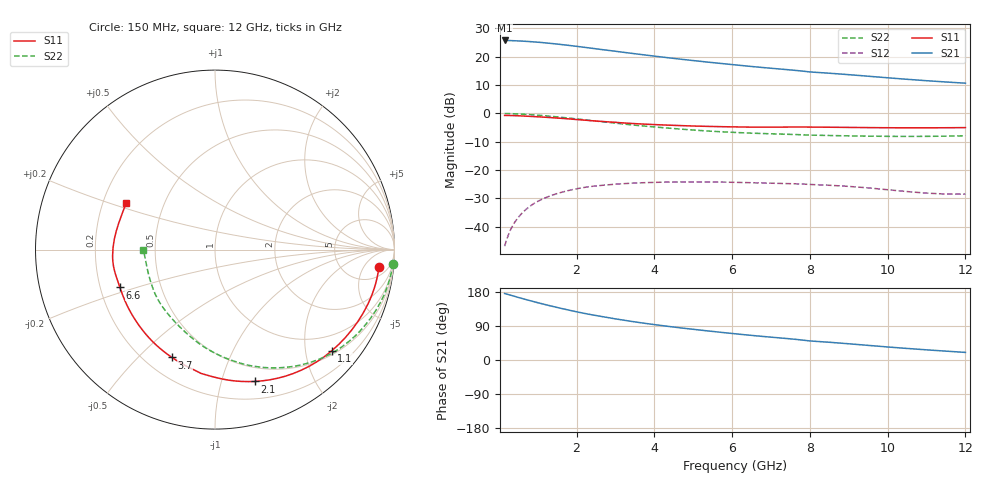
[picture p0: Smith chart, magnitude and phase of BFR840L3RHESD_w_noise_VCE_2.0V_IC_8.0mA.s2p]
! Infineon Technologies  Discrete & RF Semiconductors
! BFR840L3RHESD
! VCE =  2.0 V,  IC =  8.0 mA
! Common Emitter S-Parameters:  Jun 2012
# GHz  S  MA  R  50
!  f  S11  S21  S12  S22
! GHz  MAG  ANG  MAG  ANG  MAG  ANG  MAG  ANG
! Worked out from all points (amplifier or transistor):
!   91 points, 150 MHz to 12 GHz, reference 50 ohm
!   highest |S21| = 25.7 dB at 150 MHz (marker M1)
!   |S21| within 3 dB of that: start of sweep to 2.527 GHz
!   unconditionally stable (mu >= 1): 8.707 GHz to end of sweep
!   at 1.3 GHz: K = 0.12, MSG = 27.0 dB, |S12| = -29.3 dB
!   at 4.3 GHz: K = 0.36, MSG = 22.0 dB, |S12| = -24.3 dB
!   at 12 GHz: K = 2.22, MAG = 13.4 dB, |S12| = -28.5 dB
!   lowest NFmin = 0.61 dB at 450 MHz
!   S11 on the Smith chart (normalised r, x): 150 MHz: 9, -11; 1.1 GHz: 0.59, -2.56; 2.1 GHz: 0.36, -1.29; 3.7 GHz: 0.31, -0.63; 6.6 GHz: 0.28, -0.18; 12 GHz: 0.30, +0.23
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0.15  0.9183 -6.0  19.38 175.4  0.0045 81.6  0.9926 -4.5
0.35  0.9129 -13.8  19.22 169.7  0.0101 78.9  0.9851 -10.7
0.6  0.8981 -23.2  18.87 162.3  0.0173 71.9  0.9664 -18.0
0.8  0.8838 -30.4  18.5 156.7  0.0228 67.7  0.9477 -23.7
1.1  0.8606 -41.0  17.82 148.7  0.0301 62.5  0.9157 -32.0
1.4  0.8352 -51.2  17.02 141.1  0.0363 57.2  0.8792 -39.8
1.6  0.8166 -57.7  16.45 136.3  0.04 53.5  0.8525 -44.7
1.9  0.7873 -67.1  15.56 129.4  0.045 47.9  0.8106 -51.8
2.1  0.7678 -73.1  14.97 125.1  0.0478 44.5  0.7826 -56.3
2.2  0.7583 -75.9  14.67 123.1  0.0491 43.0  0.7689 -58.4
2.6  0.7231 -86.5  13.52 115.6  0.053 37.9  0.7172 -66.5
3  0.694 -96.5  12.51 108.5  0.0561 32.9  0.672 -73.7
3.4  0.6638 -105.5  11.52 102.1  0.0582 28.7  0.6271 -80.9
3.7  0.6469 -111.8  10.86 97.6  0.0594 26.0  0.5992 -85.9
4.2  0.6247 -121.5  9.875 90.8  0.0607 21.9  0.5594 -93.5
5  0.5973 -135.5  8.557 81.0  0.0614 16.0  0.507 -105.0
6.1  0.5754 -151.8  7.154 69.0  0.0603 9.6  0.4587 -119.7
6.6  0.5701 -158.3  6.628 64.0  0.0592 7.5  0.4441 -126.1
8  0.5716 -176.5  5.386 50.3  0.0554 1.7  0.4126 -145.0
8.5  0.5682 178.9  5.114 46.8  0.0536 0.2  0.4058 -149.5
10.5  0.5548 161.2  3.993 30.5  0.0415 0.9  0.3911 -168.8
12  0.5595 152.1  3.408 20.0  0.0374 13.7  0.4006 -179.8
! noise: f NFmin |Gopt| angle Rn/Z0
0.45  0.61  0.39  6  0.16
0.9  0.64  0.39  11  0.16
1.9  0.68  0.41  29  0.16
3.5  0.69  0.4  49  0.14
4  0.7  0.4  57  0.14
5.5  0.74  0.4  71  0.13
7  0.81  0.38  91  0.12
8  0.88  0.36  101  0.11
10  0.98  0.34  124  0.1
12  1.13  0.3  153  0.09
